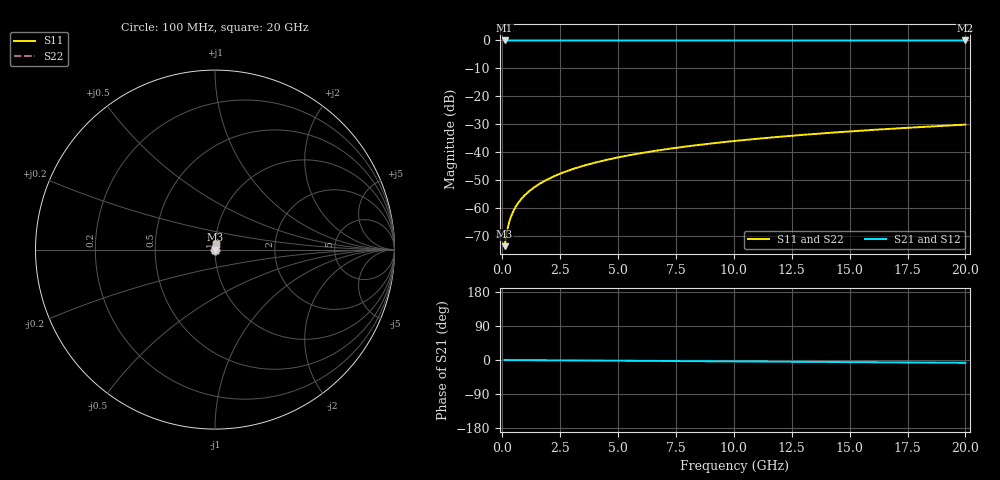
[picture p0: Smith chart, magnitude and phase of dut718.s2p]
! Touchstone file exported from HFSS 2026.1.0
!  File:  C:/ffzhzh/LocalFiles/Ansys_Project_Files/temp_train_TSV_718_1783182218_51560.aedt
!  Generated:  12:25:12 AM Jul  5, 2026
!  Design:  TSV
!  Project:  temp_train_TSV_718_1783182218_51560
! Variables:
!  h_bsmrdl = 2um
!  h_ox = 20um
!  h_rdl = 5um
!  h_sub = 65.09um
!  h_tmrdl = 5um
!  h_tsv = 65.09um
!  h_via = 3um
!  l_bsmrdl = 300um
!  l_sub = 422.36um
!  l_tmrdl = 200um
!  m_sub = 200um
!  pitch = 59.13um
!  r_tsv = 11.18um
!  s_tmrdl = 10um
!  w_bsmrdl = 18um
!  w_sub = 500um
!  w_tmrdl = 12um
!  x_tsv_center1 = 206um
!  x_tsv_center2 = 524um
!  x_tsv_center3 = 736um
!  x_tsv_center4 = 1054um
!  x_tsv_center5 = 1266um
!  x_tsv_center6 = 1584um
# GHz S MA R 50.000000
! Terminal data exported
! Port[1] = TSV1_1_T1
! Port[2] = TSV1_1_T2
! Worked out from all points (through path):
!   200 points, 100 MHz to 20 GHz, reference 50 ohm
!   highest |S21| = 0.00 dB at 100 MHz (marker M1); lowest = 0.0 dB at 20 GHz (marker M2)
!   group delay of S21, straight-line fit = 1.02 ps
!   lowest |S11| = -73.5 dB at 100 MHz (marker M3), VSWR 1.00, Z = 50 + j0.0191 ohm
!   |S11| at or under -10 dB: start of sweep to end of sweep
!   |S22| runs from -73.5 to -30.1 dB; largest |S21 - S12| = 4.9e-15
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0.1  0.000211 64.6  0.9999 -0.0  0.9999 -0.0  0.000211 64.6
! Gamma 0 0 0 0
! Port Impedance 50 0 50 0
0.2  0.000392 75.2  0.9999 -0.1  0.9999 -0.1  0.000392 75.2
0.3  0.0005751 78.5  0.9999 -0.1  0.9999 -0.1  0.0005751 78.5
0.4  0.0007553 79.9  0.9999 -0.2  0.9999 -0.2  0.0007553 79.9
0.5  0.0009314 80.6  0.9999 -0.2  0.9999 -0.2  0.0009314 80.6
0.6  0.001104 81.1  0.9998 -0.2  0.9998 -0.2  0.001104 81.1
0.7  0.001272 81.4  0.9998 -0.3  0.9998 -0.3  0.001272 81.4
0.9  0.001603 81.9  0.9998 -0.3  0.9998 -0.3  0.001603 81.9
1.1  0.001927 82.4  0.9998 -0.4  0.9998 -0.4  0.001927 82.4
1.3  0.002249 82.8  0.9997 -0.5  0.9997 -0.5  0.002249 82.8
1.6  0.002729 83.3  0.9997 -0.6  0.9997 -0.6  0.002729 83.3
1.9  0.003208 83.7  0.9997 -0.7  0.9997 -0.7  0.003208 83.7
2.6  0.004326 84.4  0.9996 -1.0  0.9996 -1.0  0.004326 84.4
3.5  0.00576 84.7  0.9996 -1.3  0.9996 -1.3  0.00576 84.7
4.2  0.006872 84.8  0.9995 -1.6  0.9995 -1.6  0.006872 84.8
5  0.008136 84.8  0.9995 -1.9  0.9995 -1.9  0.008136 84.8
6.8  0.01096 84.5  0.9994 -2.5  0.9994 -2.5  0.01096 84.5
8.3  0.01331 84.2  0.9993 -3.1  0.9993 -3.1  0.01331 84.2
10.1  0.01611 83.8  0.9992 -3.7  0.9992 -3.7  0.01611 83.8
13.4  0.02122 82.9  0.999 -4.9  0.999 -4.9  0.02122 82.9
16.7  0.02629 81.9  0.9988 -6.1  0.9988 -6.1  0.02629 81.9
20  0.03133 80.9  0.9985 -7.4  0.9985 -7.4  0.03133 80.9
